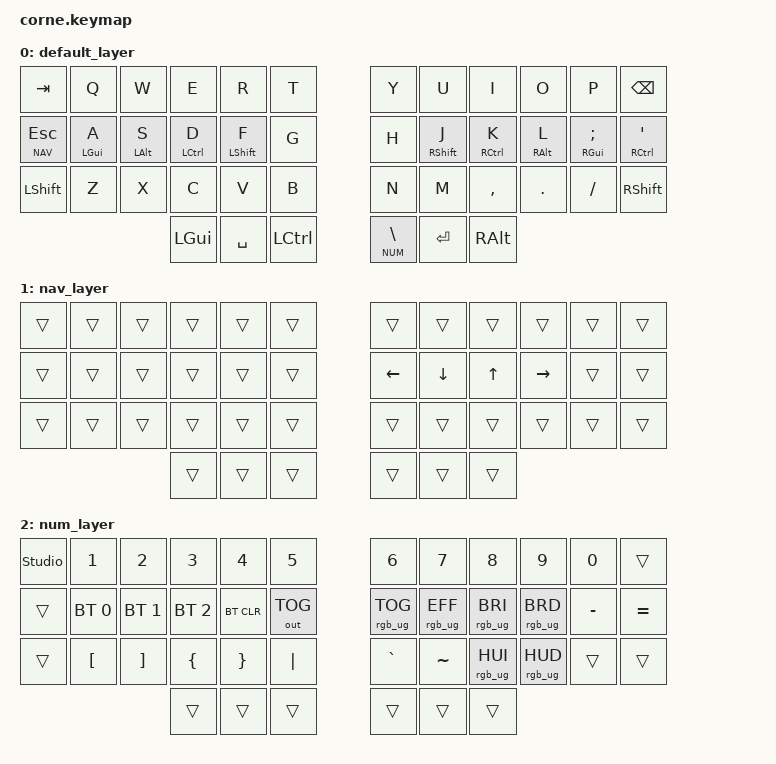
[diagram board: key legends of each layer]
/*
 * Corne 42 LP keymap — mirror of chris's Kanata config from ~/.config/kanata/kanata.kbd
 *
 * Layers:
 *   0 DEFAULT — QWERTY base with homerow mods on ASDF/JKL;
 *   1 NAV     — held via outer-mid-L key (caps-lock position); arrows on HJKL
 *   2 NUM     — held via right-inner thumb (mirrors `\` in Kanata); top-row digits + symbols
 *
 * Combos:
 *   LSFT + RSFT  ->  BSPC   (mirror of kanata `switch` aliases)
 */

#include <behaviors.dtsi>
#include <dt-bindings/zmk/keys.h>
#include <dt-bindings/zmk/bt.h>
#include <dt-bindings/zmk/outputs.h>
#include <dt-bindings/zmk/rgb.h>

#define DEFAULT 0
#define NAV     1
#define NUM     2

/ {
    behaviors {
        // Homerow mod-tap. tapping-term mirrors kanata $hold-time (200 ms).
        // quick-tap-ms mirrors kanata $tap-time (110 ms): a re-press within this
        // window after release is forced to be a tap, so double-letters don't get
        // swallowed as holds.
        // flavor "tap-preferred" = if you hold the key past tapping-term WITHOUT
        // pressing another key, it becomes a hold; otherwise tap. Closest match
        // to kanata's default tap-hold semantics.
        hm: homerow_mod {
            compatible = "zmk,behavior-hold-tap";
            #binding-cells = <2>;
            tapping-term-ms = <200>;
            quick-tap-ms = <125>;
            flavor = "tap-preferred";
            bindings = <&kp>, <&kp>;
        };
    };

    combos {
        compatible = "zmk,combos";

        // Hold one shift, tap the other -> backspace.
        // Position 24 = LSHFT (bottom-row outer-left), position 35 = RSHFT (bottom-row outer-right).
        // 50 ms term keeps it from firing during normal capitalization rolls.
        combo_bspc {
            timeout-ms = <50>;
            key-positions = <24 35>;
            bindings = <&kp BSPC>;
        };
    };

    keymap {
        compatible = "zmk,keymap";

        // ----------------------------------------------------------------------------
        // Layer 0 — DEFAULT
        //
        // ┌──────┬─────┬─────┬─────┬─────┬─────┐                  ┌─────┬─────┬─────┬─────┬─────┬──────┐
        // │ TAB  │  Q  │  W  │  E  │  R  │  T  │                  │  Y  │  U  │  I  │  O  │  P  │ BSPC │
        // ├──────┼─────┼─────┼─────┼─────┼─────┤                  ├─────┼─────┼─────┼─────┼─────┼──────┤
        // │ ESC  │  A  │  S  │  D  │  F  │  G  │                  │  H  │  J  │  K  │  L  │  ;  │  '   │
        // │ /NAV │/GUI │/ALT │/CTL │/SFT │     │                  │     │/SFT │/CTL │/ALT │/GUI │ /CTL │
        // ├──────┼─────┼─────┼─────┼─────┼─────┤                  ├─────┼─────┼─────┼─────┼─────┼──────┤
        // │ LSFT │  Z  │  X  │  C  │  V  │  B  │                  │  N  │  M  │  ,  │  .  │  /  │ RSFT │
        // └──────┴─────┴─────┴─────┼─────┼─────┼─────┐      ┌─────┼─────┼─────┼─────┴─────┴─────┴──────┘
        //                          │ GUI │ SPC │ CTL │      │  \  │ ENT │ ALT │
        //                          │     │     │     │      │/NUM │     │     │
        //                          └─────┴─────┴─────┘      └─────┴─────┴─────┘
        // ----------------------------------------------------------------------------
        default_layer {
            bindings = <
&kp TAB         &kp Q       &kp W       &kp E         &kp R         &kp T         &kp Y         &kp U         &kp I         &kp O        &kp P           &kp BSPC
&lt NAV ESC     &hm LGUI A  &hm LALT S  &hm LCTRL D   &hm LSHFT F   &kp G         &kp H         &hm RSHFT J   &hm RCTRL K   &hm RALT L   &hm RGUI SEMI   &hm RCTRL SQT
&kp LSHFT       &kp Z       &kp X       &kp C         &kp V         &kp B         &kp N         &kp M         &kp COMMA     &kp DOT      &kp FSLH        &kp RSHFT
                                        &kp LGUI      &kp SPACE     &kp LCTRL     &lt NUM BSLH  &kp RET       &kp RALT
            >;
        };

        // ----------------------------------------------------------------------------
        // Layer 1 — NAV  (held via ESC/NAV key, mirrors kanata `cap` -> nav layer)
        //
        // Only the right-hand HJKL positions change to arrows. Everything else passes
        // through to base. J/K/L are explicit (not transparent) so the homerow mod-tap
        // on those keys can't bleed into nav.
        //
        //                                                          ┌─────┬─────┬─────┬─────┬─────┬─────┐
        //                                                          │     │     │     │     │     │     │
        //                                                          ├─────┼─────┼─────┼─────┼─────┼─────┤
        //                                                          │  ←  │  ↓  │  ↑  │  →  │     │     │
        //                                                          ├─────┼─────┼─────┼─────┼─────┼─────┤
        //                                                          │     │     │     │     │     │     │
        //                                                          └─────┴─────┴─────┴─────┴─────┴─────┘
        // ----------------------------------------------------------------------------
        nav_layer {
            bindings = <
&trans  &trans  &trans  &trans  &trans  &trans     &trans     &trans     &trans   &trans     &trans  &trans
&trans  &trans  &trans  &trans  &trans  &trans     &kp LEFT   &kp DOWN   &kp UP   &kp RIGHT  &trans  &trans
&trans  &trans  &trans  &trans  &trans  &trans     &trans     &trans     &trans   &trans     &trans  &trans
                        &trans  &trans  &trans     &trans     &trans     &trans
            >;
        };

        // ----------------------------------------------------------------------------
        // Layer 2 — NUM  (held via right-inner-thumb, mirrors kanata `\` -> numrow)
        //
        // Top row projects onto QWERTY row (Q->1, W->2, ..., P->0). On the Moonlander
        // chris had brackets `[` and `]` which mapped to `-` and `=` on this layer;
        // the Corne has neither in base, so:
        //   - `;` and `'` positions become `-` and `=`  (closest to original `[ ]` spots)
        //   - The bottom-row left side gains the brackets chris loses on Corne base
        //
        // Bluetooth + output controls live on the LEFT-hand home row (NUM is held with
        // the RIGHT thumb, so left hand is free). One BT profile per device:
        //   - A -> BT 0 (lemur — this laptop)
        //   - S -> BT 1 (work MacBook Pro)
        //   - D -> BT 2 (spare profile)
        //   - F -> BT_CLR (wipe current profile's pairing — use if pairing breaks)
        //   - G -> OUT_TOG (toggle USB <-> BLE output)
        //
        // RGB underglow controls share the RIGHT-hand home row (free on NUM since
        // the hold is the right thumb). Mnemonics:
        //   - Y -> RGB_TOG (toggle on/off)
        //   - U -> RGB_EFF (cycle effect: solid → breathe → spectrum → swirl → ...)
        //   - I -> RGB_BRI (brightness +)
        //   - O -> RGB_BRD (brightness -)
        // Hue controls are on the row below (cells `,` and `.` on default):
        //   - , -> RGB_HUI (hue +)
        //   - . -> RGB_HUD (hue -)
        //
        // Shifted variants (!@#$%^&*()_+) come for free — hold shift in this layer.
        //
        // ZMK Studio: the top-left key (TAB position) is &studio_unlock. With the
        // keyboard plugged in by USB and open in the Studio web app, hold the NUM
        // thumb and tap that key to unlock live keymap editing. Locks again on idle.
        //
        // ┌─────┬─────┬─────┬─────┬─────┬─────┐                  ┌─────┬─────┬─────┬─────┬─────┬─────┐
        // │UNLCK│  1  │  2  │  3  │  4  │  5  │                  │  6  │  7  │  8  │  9  │  0  │     │
        // ├─────┼─────┼─────┼─────┼─────┼─────┤                  ├─────┼─────┼─────┼─────┼─────┼─────┤
        // │     │BT 0 │BT 1 │BT 2 │BTCLR│OUTTG│                  │TOG  │EFF  │BRI+ │BRI- │  -  │  =  │
        // ├─────┼─────┼─────┼─────┼─────┼─────┤                  ├─────┼─────┼─────┼─────┼─────┼─────┤
        // │     │  [  │  ]  │  {  │  }  │  |  │                  │  `  │  ~  │HUE+ │HUE- │     │     │
        // └─────┴─────┴─────┴─────┼─────┼─────┼─────┐      ┌─────┼─────┼─────┼─────┴─────┴─────┴─────┘
        //                         │     │     │     │      │     │     │     │
        //                         └─────┴─────┴─────┘      └─────┴─────┴─────┘
        // ----------------------------------------------------------------------------
        num_layer {
            bindings = <
&studio_unlock  &kp N1  &kp N2        &kp N3        &kp N4        &kp N5         &kp N6              &kp N7              &kp N8              &kp N9              &kp N0      &trans
&trans  &bt BT_SEL 0  &bt BT_SEL 1  &bt BT_SEL 2  &bt BT_CLR    &out OUT_TOG   &rgb_ug RGB_TOG     &rgb_ug RGB_EFF     &rgb_ug RGB_BRI     &rgb_ug RGB_BRD     &kp MINUS   &kp EQUAL
&trans  &kp LBKT      &kp RBKT      &kp LBRC      &kp RBRC      &kp PIPE       &kp GRAVE           &kp TILDE           &rgb_ug RGB_HUI     &rgb_ug RGB_HUD     &trans      &trans
                                    &trans        &trans        &trans         &trans              &trans              &trans
            >;
        };
    };
};
